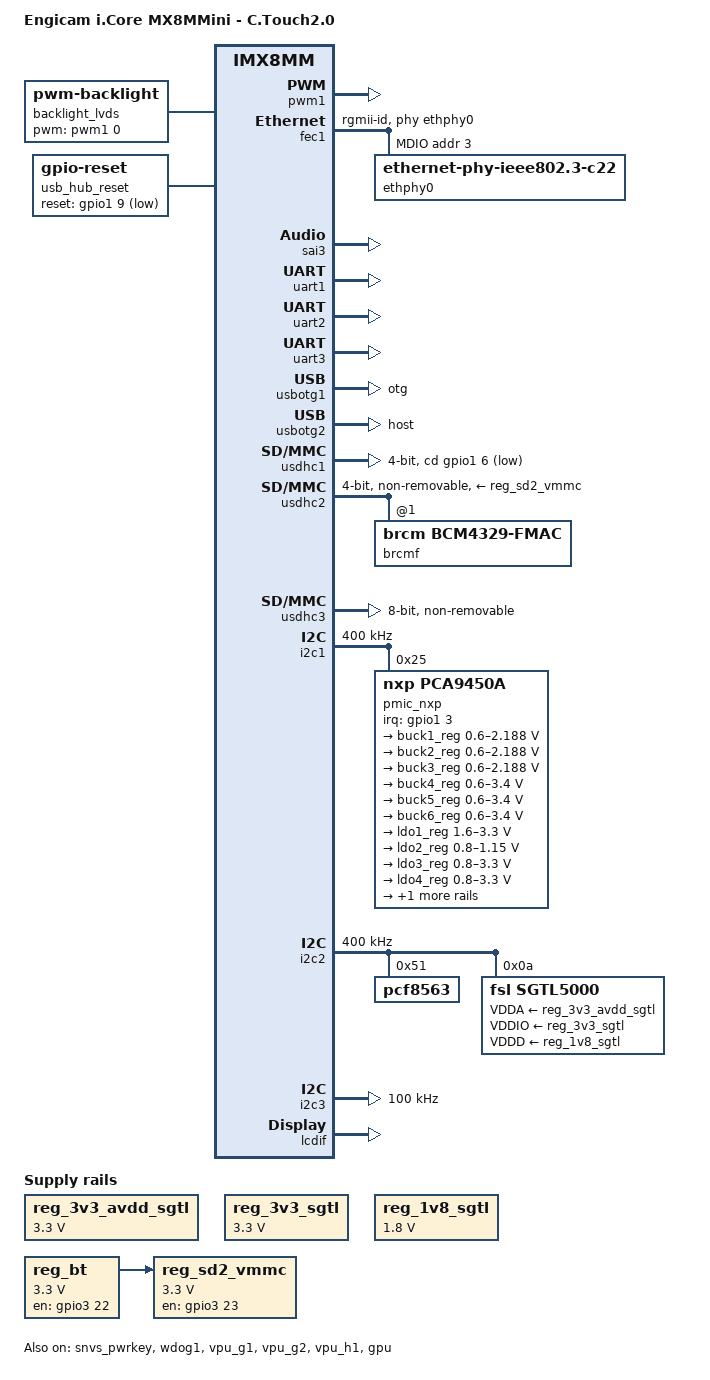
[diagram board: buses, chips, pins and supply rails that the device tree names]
// SPDX-License-Identifier: (GPL-2.0+ OR MIT)
/*
 * Copyright 2021 Engicam srl
 * Copyright 2019 NXP
 */

/dts-v1/;

#include <dt-bindings/usb/pd.h>
#include <dt-bindings/interrupt-controller/irq.h>
#include "../freescale/imx8mm.dtsi"

/ {
	model = "Engicam i.Core MX8MMini - C.Touch2.0";
	compatible = "engi,icore-imx8mm", "fsl,imx8mm-evk", "fsl,imx8mm";

	reserved-memory {
		#address-cells = <2>;
		#size-cells = <2>;
		ranges;

		rpmsg_reserved: rpmsg@b8000000 {
			no-map;
			reg = <0 0xb8000000 0 0x400000>;
		};
	};

	chosen {
		stdout-path = &uart2;
	};

	backlight_lvds: backlight_lvds {
		compatible = "pwm-backlight";
		pinctrl-names = "default";
		pinctrl-0 = <&pinctrl_pwm1>;
		pwms = <&pwm1 0 1000000 0>;
		brightness-levels = <0 4 8 16 32 64 128 255>;
		default-brightness-level = <7>;
		status = "okay";
	};

	usb_hub_reset: usb-hub-reset {
		compatible = "gpio-reset";
		reset-gpios = <&gpio1 9 GPIO_ACTIVE_LOW>;
		reset-delay-us = <2000>;
		reset-post-delay-ms = <40>;
		#reset-cells = <0>;
	};

	regulators {
		compatible = "simple-bus";
		#address-cells = <1>;
		#size-cells = <0>;

		reg_3v3_avdd_sgtl: reg_3v3_avdd_regulator {
			compatible = "regulator-fixed";
			regulator-name = "3v3_avdd_sgtl";
			regulator-min-microvolt = <3300000>;
			regulator-max-microvolt = <3300000>;
			always-on;
		};

		reg_3v3_sgtl: reg_3v3_sgtl_regulator {
			compatible = "regulator-fixed";
			regulator-name = "3v3_sgtl";
			regulator-min-microvolt = <3300000>;
			regulator-max-microvolt = <3300000>;
			always-on;
		};

		reg_1v8_sgtl: reg_1v8_sgtl_regulator {
			compatible = "regulator-fixed";
			regulator-name = "1v8_sgtl";
			regulator-min-microvolt = <1800000>;
			regulator-max-microvolt = <1800000>;
			always-on;
		};

		reg_sd2_vmmc: sd2_regulator {
			compatible = "regulator-fixed";
			regulator-name = "WLAN_EN";
			regulator-min-microvolt = <3300000>;
			regulator-max-microvolt = <3300000>;
			gpio = <&gpio3 23 GPIO_ACTIVE_HIGH>;
			enable-active-high;
			always-on;
			vin-supply = <&reg_bt>;
		};

		reg_bt: bt_regulator {
			compatible = "regulator-fixed";
			regulator-name = "BT_EN";
			regulator-min-microvolt = <3300000>;
			regulator-max-microvolt = <3300000>;
			gpio = <&gpio3 22 1>;
			enable-active-high;
			always-on;
		};
	};

	sound {
		compatible = "simple-audio-card";
		simple-audio-card,name = "imx8mm-sgtl5000";
		simple-audio-card,format = "i2s";
		simple-audio-card,bitclock-master = <&dailink_master>;
		simple-audio-card,frame-master = <&dailink_master>;
		/*simple-audio-card,mclk-fs = <1>;*/
		simple-audio-card,cpu {
			sound-dai = <&sai3>;
		};

		dailink_master: simple-audio-card,codec {
			sound-dai = <&sgtl5000>;
			clocks = <&clk IMX8MM_CLK_SAI3>;
		};
	};
};

&resmem {
	linux,cma {
		alloc-ranges = <0 0x40000000 0 0x60000000>;
	};
};

&pwm1{
    status = "okay";
};

&A53_0 {
	cpu-supply = <&buck2_reg>;
};

&fec1 {
	pinctrl-names = "default";
	pinctrl-0 = <&pinctrl_fec1>;
	phy-mode = "rgmii-id";
	phy-handle = <&ethphy0>;
	fsl,magic-packet;
	status = "okay";

	mdio {
		#address-cells = <1>;
		#size-cells = <0>;

		ethphy0: ethernet-phy@0 {
			compatible = "ethernet-phy-ieee802.3-c22";
			reg = <3>;
			rxc-skew-ps = <3000>;
			rxdv-skew-ps = <0>;
			txc-skew-ps = <3000>;
			txen-skew-ps = <0>;
			max-speed = <100>;
		};
	};
};

&pcie0{
	pinctrl-names = "default";
	status = "disabled";
};

&sai3 {
	#sound-dai-cells = <0>;
	pinctrl-names = "default";
	pinctrl-0 = <&pinctrl_sai3>;
	assigned-clocks = <&clk IMX8MM_CLK_SAI3>;
	assigned-clock-parents = <&clk IMX8MM_AUDIO_PLL1_OUT>;
	assigned-clock-rates = <24576000>;
	status = "okay";
};


&snvs_rtc {
	status = "disabled";
};

&snvs_pwrkey {
	status = "okay";
};

&uart1 { /* RS232 */
	pinctrl-names = "default";
	pinctrl-0 = <&pinctrl_uart1>;
	assigned-clocks = <&clk IMX8MM_CLK_UART1>;
	assigned-clock-parents = <&clk IMX8MM_SYS_PLL1_80M>;
	status = "okay";
};

&uart2 { /* console */
	pinctrl-names = "default";
	pinctrl-0 = <&pinctrl_uart2>;
	status = "okay";
};

&uart3 { /* RS485 */
	pinctrl-names = "default";
	pinctrl-0 = <&pinctrl_uart3>;
	assigned-clocks = <&clk IMX8MM_CLK_UART3>;
	assigned-clock-parents = <&clk IMX8MM_SYS_PLL1_80M>;
	uart-has-rtscts;
	status = "okay";
};

&usbotg1 {
	dr_mode = "otg";
	hnp-disable;
	srp-disable;
	adp-disable;
	usb-role-switch;
	status = "okay";
};

&usbotg2 {
	dr_mode = "host";
	hnp-disable;
	srp-disable;
	adp-disable;
	usb-role-switch;
	status = "okay";
};

&usdhc1 {
	pinctrl-names = "default";
	pinctrl-0 = <&pinctrl_usdhc1>, <&pinctrl_usdhc1_gpio>;
	cd-gpios = <&gpio1 6 GPIO_ACTIVE_LOW>;
	max-frequency = <50000000>;
	bus-width = <4>;
	no-1-8-v;
	pm-ignore-notify;
	keep-power-in-suspend;
	status = "okay";
};

&usdhc2 {
	#address-cells = <1>;
	#size-cells = <0>;
	pinctrl-names = "default";
	pinctrl-0 = <&pinctrl_usdhc2>, <&pinctrl_laird>;
	bus-width = <4>;
	vmmc-supply = <&reg_sd2_vmmc>;
	pm-ignore-notify;
	keep-power-in-suspend;
	non-removable;
	status = "okay";
	enable-sdio-wakeup;

	brcmf: bcrmf@1 {
		reg = <1>;
		compatible = "brcm,bcm4329-fmac";
	};
};

&usdhc3 {
	pinctrl-names = "default", "state_100mhz", "state_200mhz";
	pinctrl-0 = <&pinctrl_usdhc3>;
	pinctrl-1 = <&pinctrl_usdhc3_100mhz>;
	pinctrl-2 = <&pinctrl_usdhc3_200mhz>;
	bus-width = <8>;
	non-removable;
	status = "okay";
};

&wdog1 {
	pinctrl-names = "default";
	pinctrl-0 = <&pinctrl_wdog>;
	fsl,ext-reset-output;
	status = "okay";
};

&i2c1 {
	clock-frequency = <400000>;
	pinctrl-names = "default";
	pinctrl-0 = <&pinctrl_i2c1>;
	status = "okay";


	pmic_nxp: pca9450@25 {
		compatible = "nxp,pca9450a";
		reg = <0x25>;
		pinctrl-0 = <&pinctrl_pmic>;
		pinctrl-names = "default";
		interrupt-parent = <&gpio1>;
		interrupts = <3 IRQ_TYPE_LEVEL_LOW>;

		regulators {
			buck1_reg: BUCK1 {
				regulator-name = "BUCK1";
				regulator-min-microvolt = <600000>;
				regulator-max-microvolt = <2187500>;
				regulator-boot-on;
				regulator-always-on;
				regulator-ramp-delay = <3125>;
				nxp,dvs-run-voltage = <850000>;
				nxp,dvs-standby-voltage = <800000>;
			};

			buck2_reg: BUCK2 {
				regulator-name = "BUCK2";
				regulator-min-microvolt = <600000>;
				regulator-max-microvolt = <2187500>;
				regulator-boot-on;
				regulator-always-on;
				regulator-ramp-delay = <3125>;
			};

			buck3_reg: BUCK3 {
				regulator-name = "BUCK3";
				regulator-min-microvolt = <600000>;
				regulator-max-microvolt = <2187500>;
				regulator-boot-on;
				regulator-always-on;
			};

			buck4_reg: BUCK4 {
				regulator-name = "BUCK4";
				regulator-min-microvolt = <600000>;
				regulator-max-microvolt = <3400000>;
				regulator-boot-on;
				regulator-always-on;
			};

			buck5_reg: BUCK5 {
				regulator-name = "BUCK5";
				regulator-min-microvolt = <600000>;
				regulator-max-microvolt = <3400000>;
				regulator-boot-on;
				regulator-always-on;
			};

			buck6_reg: BUCK6 {
				regulator-name = "BUCK6";
				regulator-min-microvolt = <600000>;
				regulator-max-microvolt = <3400000>;
				regulator-boot-on;
				regulator-always-on;
			};

			ldo1_reg: LDO1 {
				regulator-name = "LDO1";
				regulator-min-microvolt = <1600000>;
				regulator-max-microvolt = <3300000>;
				regulator-boot-on;
				regulator-always-on;
			};

			ldo2_reg: LDO2 {
				regulator-name = "LDO2";
				regulator-min-microvolt = <800000>;
				regulator-max-microvolt = <1150000>;
				regulator-boot-on;
				regulator-always-on;
			};

			ldo3_reg: LDO3 {
				regulator-name = "LDO3";
				regulator-min-microvolt = <800000>;
				regulator-max-microvolt = <3300000>;
				regulator-boot-on;
				regulator-always-on;
			};

			ldo4_reg: LDO4 {
				regulator-name = "LDO4";
				regulator-min-microvolt = <800000>;
				regulator-max-microvolt = <3300000>;
				regulator-boot-on;
				regulator-always-on;
			};

			ldo5_reg: LDO5 {
				regulator-name = "LDO5";
				regulator-min-microvolt = <1800000>;
				regulator-max-microvolt = <3300000>;
			};
		};
	};
};

&i2c2 {
	clock-frequency = <400000>;
	pinctrl-names = "default";
	pinctrl-0 = <&pinctrl_i2c2>;
	status = "okay";

	pcf8563: rtc@51 {
		compatible = "pcf8563";
		reg = <0x51>;
	};

	sgtl5000: codec@a {
		compatible = "fsl,sgtl5000";
		status = "okay";
		#sound-dai-cells = <0>;
		reg = <0x0a>;
		clocks = <&clk IMX8MM_CLK_SAI3>;
		clock-names = "mclk";
		assigned-clock-rates = <24576000>, <24576000>;
		VDDA-supply = <&reg_3v3_avdd_sgtl>;
		VDDIO-supply = <&reg_3v3_sgtl>;
		VDDD-supply = <&reg_1v8_sgtl>;
	};

};

&i2c3 {
	clock-frequency = <100000>;
	pinctrl-names = "default";
	pinctrl-0 = <&pinctrl_i2c3>;
	status = "okay";
};

&iomuxc {
		icore-imx8mm {
		pinctrl_hog: hoggrp {
				fsl,pins = <
					MX8MM_IOMUXC_SAI5_RXC_GPIO3_IO20             0x19
					MX8MM_IOMUXC_SAI5_RXD0_GPIO3_IO21            0x19
					MX8MM_IOMUXC_SAI5_RXD3_GPIO3_IO24            0x19
					MX8MM_IOMUXC_SAI2_TXFS_GPIO4_IO24            0x19
				>;
		};

		pinctrl_dsi_lvds_bridge: lvds_bridge_gpio {
			fsl,pins = <
				MX8MM_IOMUXC_NAND_DATA03_GPIO3_IO9	0x19
				MX8MM_IOMUXC_NAND_DATA02_GPIO3_IO8	0x19
			>;
		};

		pinctrl_pwm1: pwm1grp {
			fsl,pins = <
				MX8MM_IOMUXC_SPDIF_EXT_CLK_PWM1_OUT     0x19
			>;
		};

		pinctrl_laird: lairdgrp {
			fsl,pins = <
				MX8MM_IOMUXC_SAI5_RXD2_GPIO3_IO23        0x1C0
				MX8MM_IOMUXC_SAI5_RXD1_GPIO3_IO22        0x1C0
			>;
		};

		pinctrl_wdog: wdoggrp {
			fsl,pins = <
				MX8MM_IOMUXC_GPIO1_IO02_WDOG1_WDOG_B	0x1c6
			>;
		};

		pinctrl_fec1: fec1grp {
			fsl,pins = <
				MX8MM_IOMUXC_ENET_MDC_ENET1_MDC			0x3
				MX8MM_IOMUXC_ENET_MDIO_ENET1_MDIO		0x3
				MX8MM_IOMUXC_ENET_TD3_ENET1_RGMII_TD3		0x1f
				MX8MM_IOMUXC_ENET_TD2_ENET1_RGMII_TD2		0x1f
				MX8MM_IOMUXC_ENET_TD1_ENET1_RGMII_TD1		0x1f
				MX8MM_IOMUXC_ENET_TD0_ENET1_RGMII_TD0		0x1f
				MX8MM_IOMUXC_ENET_RD3_ENET1_RGMII_RD3		0x91
				MX8MM_IOMUXC_ENET_RD2_ENET1_RGMII_RD2		0x91
				MX8MM_IOMUXC_ENET_RD1_ENET1_RGMII_RD1		0x91
				MX8MM_IOMUXC_ENET_RD0_ENET1_RGMII_RD0		0x91
				MX8MM_IOMUXC_ENET_TXC_ENET1_RGMII_TXC		0x1f
				MX8MM_IOMUXC_ENET_RXC_ENET1_RGMII_RXC		0x91
				MX8MM_IOMUXC_ENET_RX_CTL_ENET1_RGMII_RX_CTL	0x91
				MX8MM_IOMUXC_ENET_TX_CTL_ENET1_RGMII_TX_CTL	0x1f
			>;
		};

		pinctrl_i2c1: i2c1grp {
			fsl,pins = <
				MX8MM_IOMUXC_I2C1_SCL_I2C1_SCL			0x400001c3
				MX8MM_IOMUXC_I2C1_SDA_I2C1_SDA			0x400001c3
			>;
		};

		pinctrl_i2c2: i2c2grp {
			fsl,pins = <
				MX8MM_IOMUXC_I2C2_SCL_I2C2_SCL			0x400001c3
				MX8MM_IOMUXC_I2C2_SDA_I2C2_SDA			0x400001c3
			>;
		};

		pinctrl_i2c3: i2c3grp {
			fsl,pins = <
				MX8MM_IOMUXC_I2C3_SCL_I2C3_SCL			0x400001c3
				MX8MM_IOMUXC_I2C3_SDA_I2C3_SDA			0x400001c3
			>;
		};

		pinctrl_i2c4: i2c4grp {
			fsl,pins = <
				MX8MM_IOMUXC_I2C4_SCL_I2C4_SCL			0x400001c3
				MX8MM_IOMUXC_I2C4_SDA_I2C4_SDA			0x400001c3
			>;
		};

		pinctrl_mipi_dsi_en: mipi_dsi_en {
			fsl,pins = <
				MX8MM_IOMUXC_GPIO1_IO08_GPIO1_IO8		0x16
			>;
		};

		pinctrl_pcie0: pcie0grp {
			fsl,pins = <
				MX8MM_IOMUXC_SAI5_RXD3_GPIO3_IO24	0x41
				MX8MM_IOMUXC_SAI2_TXC_GPIO4_IO25	0x41
			>;
		};

		pinctrl_pmic: pmicirq {
			fsl,pins = <
				MX8MM_IOMUXC_GPIO1_IO03_GPIO1_IO3		0x41
			>;
		};

		pinctrl_sai3: sai3grp {
			fsl,pins = <
				MX8MM_IOMUXC_SAI3_TXFS_SAI3_TX_SYNC     0xd6
				MX8MM_IOMUXC_SAI3_TXC_SAI3_TX_BCLK      0xd6
				MX8MM_IOMUXC_SAI3_MCLK_SAI3_MCLK        0xd6
				MX8MM_IOMUXC_SAI3_TXD_SAI3_TX_DATA0     0xd6
				MX8MM_IOMUXC_SAI3_RXD_SAI3_RX_DATA0	0xd6
			>;
		};

		pinctrl_pdm: pdmgrp {
			fsl,pins = <
				MX8MM_IOMUXC_SAI5_MCLK_SAI5_MCLK	0xd6
				MX8MM_IOMUXC_SAI5_RXC_PDM_CLK		0xd6
				MX8MM_IOMUXC_SAI5_RXFS_SAI5_RX_SYNC	0xd6
				MX8MM_IOMUXC_SAI5_RXD0_PDM_DATA0	0xd6
				MX8MM_IOMUXC_SAI5_RXD1_PDM_DATA1	0xd6
				MX8MM_IOMUXC_SAI5_RXD2_PDM_DATA2	0xd6
				MX8MM_IOMUXC_SAI5_RXD3_PDM_DATA3	0xd6
			>;
		};

		pinctrl_spdif1: spdif1grp {
			fsl,pins = <
				MX8MM_IOMUXC_SPDIF_TX_SPDIF1_OUT	0xd6
				MX8MM_IOMUXC_SPDIF_RX_SPDIF1_IN		0xd6
			>;
		};

		pinctrl_typec1: typec1grp {
			fsl,pins = <
				MX8MM_IOMUXC_SD1_STROBE_GPIO2_IO11	0x159
			>;
		};

		pinctrl_uart1: uart1grp {
			fsl,pins = <
				MX8MM_IOMUXC_UART1_RXD_UART1_DCE_RX	0x140
				MX8MM_IOMUXC_UART1_TXD_UART1_DCE_TX	0x140
			>;
		};

		pinctrl_uart2: uart2grp {
			fsl,pins = <
				MX8MM_IOMUXC_UART2_RXD_UART2_DCE_RX	0x140
				MX8MM_IOMUXC_UART2_TXD_UART2_DCE_TX	0x140
			>;
		};

		pinctrl_uart3: uart3grp {
			fsl,pins = <
				MX8MM_IOMUXC_UART3_RXD_UART3_DCE_RX		0x140
				MX8MM_IOMUXC_UART3_TXD_UART3_DCE_TX		0x140
				MX8MM_IOMUXC_ECSPI1_SS0_UART3_DCE_RTS_B		0x140
				MX8MM_IOMUXC_ECSPI1_MISO_UART3_DCE_CTS_B	0x140
			>;
		};

		pinctrl_usdhc1_gpio: usdhc1grpgpio {
			fsl,pins = <
				MX8MM_IOMUXC_GPIO1_IO06_GPIO1_IO6	0x41
			>;
		};

		pinctrl_usdhc1: usdhc1grp {
			fsl,pins = <
				MX8MM_IOMUXC_SD1_CLK_USDHC1_CLK		0x190
				MX8MM_IOMUXC_SD1_CMD_USDHC1_CMD		0x1d0
				MX8MM_IOMUXC_SD1_DATA0_USDHC1_DATA0	0x1d0
				MX8MM_IOMUXC_SD1_DATA1_USDHC1_DATA1	0x1d0
				MX8MM_IOMUXC_SD1_DATA2_USDHC1_DATA2	0x1d0
				MX8MM_IOMUXC_SD1_DATA3_USDHC1_DATA3	0x1d0
			>;
		};

		pinctrl_usdhc1_100mhz: usdhc1grp100mhz {
			fsl,pins = <
				MX8MM_IOMUXC_SD1_CLK_USDHC1_CLK		0x194
				MX8MM_IOMUXC_SD1_CMD_USDHC1_CMD		0x1d4
				MX8MM_IOMUXC_SD1_DATA0_USDHC1_DATA0	0x1d4
				MX8MM_IOMUXC_SD1_DATA1_USDHC1_DATA1	0x1d4
				MX8MM_IOMUXC_SD1_DATA2_USDHC1_DATA2	0x1d4
				MX8MM_IOMUXC_SD1_DATA3_USDHC1_DATA3	0x1d4
			>;
		};

		pinctrl_usdhc1_200mhz: usdhc1grp200mhz {
			fsl,pins = <
				MX8MM_IOMUXC_SD1_CLK_USDHC1_CLK		0x196
				MX8MM_IOMUXC_SD1_CMD_USDHC1_CMD		0x1d6
				MX8MM_IOMUXC_SD1_DATA0_USDHC1_DATA0	0x1d6
				MX8MM_IOMUXC_SD1_DATA1_USDHC1_DATA1	0x1d6
				MX8MM_IOMUXC_SD1_DATA2_USDHC1_DATA2	0x1d6
				MX8MM_IOMUXC_SD1_DATA3_USDHC1_DATA3	0x1d6
			>;
		};

		pinctrl_usdhc2: usdhc2grp {
			fsl,pins = <
				MX8MM_IOMUXC_SD2_CLK_USDHC2_CLK		0x190
				MX8MM_IOMUXC_SD2_CMD_USDHC2_CMD		0x1d0
				MX8MM_IOMUXC_SD2_DATA0_USDHC2_DATA0	0x1d0
				MX8MM_IOMUXC_SD2_DATA1_USDHC2_DATA1	0x1d0
				MX8MM_IOMUXC_SD2_DATA2_USDHC2_DATA2	0x1d0
				MX8MM_IOMUXC_SD2_DATA3_USDHC2_DATA3	0x1d0
			>;
		};


		pinctrl_usdhc3: usdhc3grp {
			fsl,pins = <
				MX8MM_IOMUXC_NAND_WE_B_USDHC3_CLK		0x190
				MX8MM_IOMUXC_NAND_WP_B_USDHC3_CMD		0x1d0
				MX8MM_IOMUXC_NAND_DATA04_USDHC3_DATA0		0x1d0
				MX8MM_IOMUXC_NAND_DATA05_USDHC3_DATA1		0x1d0
				MX8MM_IOMUXC_NAND_DATA06_USDHC3_DATA2		0x1d0
				MX8MM_IOMUXC_NAND_DATA07_USDHC3_DATA3		0x1d0
				MX8MM_IOMUXC_NAND_RE_B_USDHC3_DATA4		0x1d0
				MX8MM_IOMUXC_NAND_CE2_B_USDHC3_DATA5		0x1d0
				MX8MM_IOMUXC_NAND_CE3_B_USDHC3_DATA6		0x1d0
				MX8MM_IOMUXC_NAND_CLE_USDHC3_DATA7		0x1d0
				MX8MM_IOMUXC_NAND_CE1_B_USDHC3_STROBE 		0x190
			>;
		};

		pinctrl_usdhc3_100mhz: usdhc3grp100mhz {
			fsl,pins = <
				MX8MM_IOMUXC_NAND_WE_B_USDHC3_CLK		0x194
				MX8MM_IOMUXC_NAND_WP_B_USDHC3_CMD		0x1d4
				MX8MM_IOMUXC_NAND_DATA04_USDHC3_DATA0		0x1d4
				MX8MM_IOMUXC_NAND_DATA05_USDHC3_DATA1		0x1d4
				MX8MM_IOMUXC_NAND_DATA06_USDHC3_DATA2		0x1d4
				MX8MM_IOMUXC_NAND_DATA07_USDHC3_DATA3		0x1d4
				MX8MM_IOMUXC_NAND_RE_B_USDHC3_DATA4		0x1d4
				MX8MM_IOMUXC_NAND_CE2_B_USDHC3_DATA5		0x1d4
				MX8MM_IOMUXC_NAND_CE3_B_USDHC3_DATA6		0x1d4
				MX8MM_IOMUXC_NAND_CLE_USDHC3_DATA7		0x1d4
				MX8MM_IOMUXC_NAND_CE1_B_USDHC3_STROBE 		0x194
			>;
		};

		pinctrl_usdhc3_200mhz: usdhc3grp200mhz {
			fsl,pins = <
				MX8MM_IOMUXC_NAND_WE_B_USDHC3_CLK		0x196
				MX8MM_IOMUXC_NAND_WP_B_USDHC3_CMD		0x1d6
				MX8MM_IOMUXC_NAND_DATA04_USDHC3_DATA0		0x1d6
				MX8MM_IOMUXC_NAND_DATA05_USDHC3_DATA1		0x1d6
				MX8MM_IOMUXC_NAND_DATA06_USDHC3_DATA2		0x1d6
				MX8MM_IOMUXC_NAND_DATA07_USDHC3_DATA3		0x1d6
				MX8MM_IOMUXC_NAND_RE_B_USDHC3_DATA4		0x1d6
				MX8MM_IOMUXC_NAND_CE2_B_USDHC3_DATA5		0x1d6
				MX8MM_IOMUXC_NAND_CE3_B_USDHC3_DATA6		0x1d6
				MX8MM_IOMUXC_NAND_CLE_USDHC3_DATA7		0x1d6
				MX8MM_IOMUXC_NAND_CE1_B_USDHC3_STROBE 		0x196
			>;
		};
	};
};

&lcdif {
	max-res = <1280>, <800>;
	status = "okay";
};

&vpu_g1 {
	status = "okay";
};

&vpu_g2 {
	status = "okay";
};

&vpu_h1 {
	status = "okay";
};

&gpu {
	status = "okay";
};
